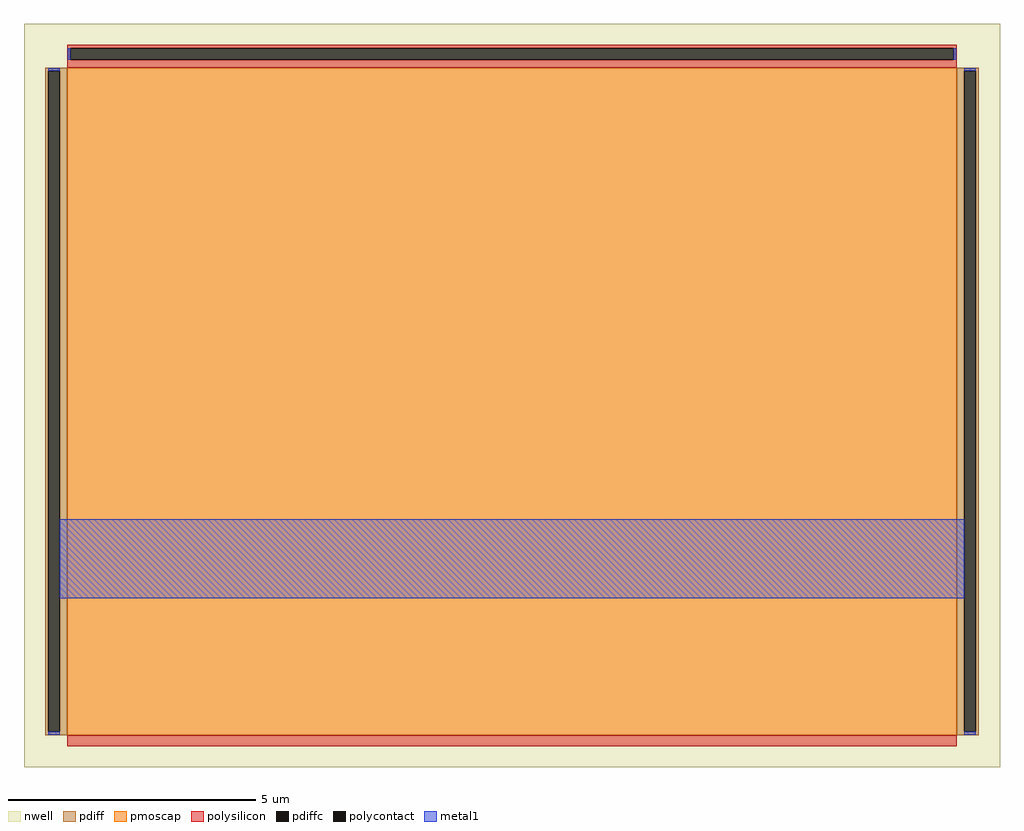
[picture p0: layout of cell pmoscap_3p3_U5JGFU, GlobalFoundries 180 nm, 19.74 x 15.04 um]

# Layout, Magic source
magic
tech gf180mcuD
magscale 1 10
<< nwell >>
rect -1974 -1504 1974 1504
<< pdiff >>
rect -1888 1313 -1800 1326
rect -1888 -1361 -1875 1313
rect -1829 -1361 -1800 1313
rect -1888 -1374 -1800 -1361
rect 1800 1313 1888 1326
rect 1800 -1361 1829 1313
rect 1875 -1361 1888 1313
rect 1800 -1374 1888 -1361
<< pdiffc >>
rect -1875 -1361 -1829 1313
rect 1829 -1361 1875 1313
<< pmoscap >>
rect -1800 -1374 1800 1326
<< polysilicon >>
rect -1800 1405 1800 1418
rect -1800 1359 -1787 1405
rect 1787 1359 1800 1405
rect -1800 1326 1800 1359
rect -1800 -1418 1800 -1374
<< polycontact >>
rect -1787 1359 1787 1405
<< metal1 >>
rect -1798 1359 -1787 1405
rect 1787 1359 1798 1405
rect -1875 1313 -1829 1324
rect 1829 1313 1875 1324
rect -1829 -820 1829 -500
rect -1875 -1372 -1829 -1361
rect 1829 -1372 1875 -1361
<< properties >>
string gencell pmoscap_3p3
string library gf180mcu
string parameters w 13.5 l 18 m 1 nf 1 diffcov 100 polycov 100 guard 0 glc 0 grc 0 gtc 0 gbc 0 tbcov 100 rlcov 100 topc 1 botc 0 poverlap 0 doverlap 1 lmin 0.28 wmin 0.22 class mosfet full_metal 0 compatible {pmoscap_3p3 pmoscap_6p0}
<< end >>
